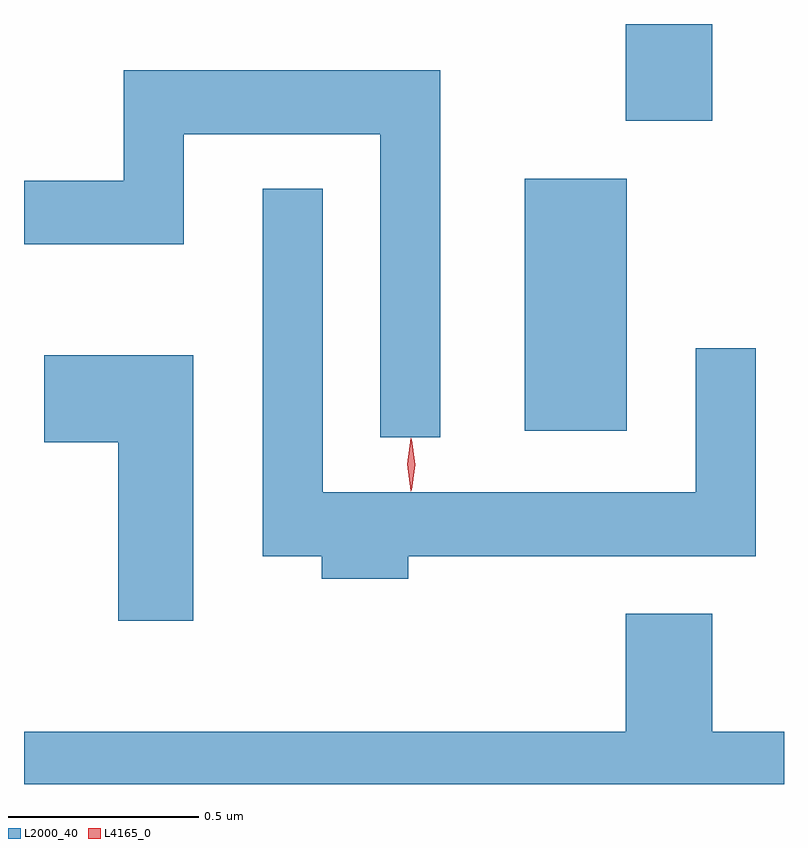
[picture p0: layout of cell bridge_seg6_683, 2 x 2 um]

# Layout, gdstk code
import gdstk
lib = gdstk.Library(unit=1e-6, precision=1e-09)
def R(c, l, rs):  # rectangles x0, y0, x1, y1
    for r in rs: c.add(gdstk.rectangle(r[:2], r[2:], *l))
def P(c, l, *ps):  # polygons
    for p in ps: c.add(gdstk.Polygon(p, *l))
L2000_40 = (2000, 40)
L4165_0 = (4165, 0)

bridge_seg6_683 = lib.new_cell('bridge_seg6_683')
R(bridge_seg6_683, L2000_40, [(304.796,1650.996,305.064,1651.659), (305.061,1651.811,305.289,1652.066)])
P(bridge_seg6_683, L2000_40, [(304.574,1651.944),(303.741,1651.944),(303.741,1651.654),(303.478,1651.654),(303.478,1651.486),(303.899,1651.486),(303.899,1651.776),(304.416,1651.776),(304.416,1650.978),(304.574,1650.978)],
  [(304.489,1650.666),(305.404,1650.666),(305.404,1651.213),(305.246,1651.213),(305.246,1650.834),(304.264,1650.834),(304.264,1651.633),(304.106,1651.633),(304.106,1650.666),(304.261,1650.666),(304.261,1650.606),(304.489,1650.606)],
  [(303.924,1651.194),(303.531,1651.194),(303.531,1650.966),(303.726,1650.966),(303.726,1650.496),(303.924,1650.496)],
  [(305.478,1650.204),(305.289,1650.204),(305.289,1650.514),(305.061,1650.514),(305.061,1650.204),(303.478,1650.204),(303.478,1650.066),(305.478,1650.066)])
P(bridge_seg6_683, L4165_0, [(304.496,1650.837),(304.496,1650.838),(304.486,1650.907),(304.496,1650.976),(304.496,1650.976),(304.497,1650.976),(304.506,1650.907),(304.497,1650.838)],
  [(304.497,1650.839),(304.497,1650.84),(304.488,1650.906),(304.497,1650.972),(304.497,1650.973),(304.498,1650.972),(304.507,1650.906),(304.498,1650.84)])

lib.write_gds('bridge_seg6_683.gds')
